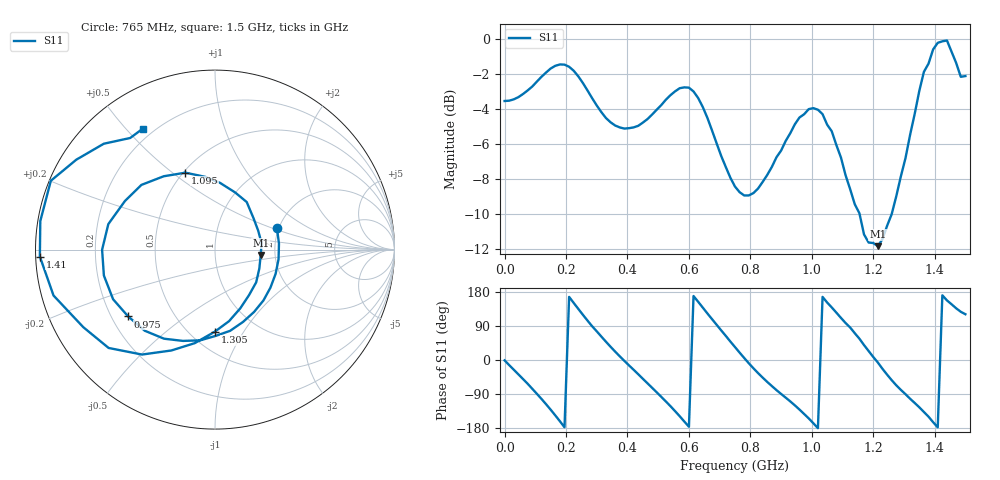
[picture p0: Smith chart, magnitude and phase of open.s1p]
! Created with skrf 1.8.0 (http://scikit-rf.org).
# Hz S RI R 50.0
!freq ReS11 ImS11
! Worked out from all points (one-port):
!   101 points, 50 kHz to 1.5 GHz, reference 50 ohm
!   lowest |S11| = -11.8 dB at 1.215 GHz (marker M1), VSWR 1.69, Z = 84 - j5.32 ohm
!   |S11| at or under -10 dB: 1.156 GHz to 1.26 GHz (104 MHz wide, 8.61 % of centre)
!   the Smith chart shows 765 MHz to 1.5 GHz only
!   S11 on the Smith chart (normalised r, x): 765 MHz: 1.95, +0.55; 975 MHz: 0.27, -0.32; 1.095 GHz: 0.51, +0.56; 1.305 GHz: 0.65, -0.75; 1.41 GHz: 0.01, -0.02; 1.5 GHz: 0.16, +0.56
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50000  0.6661 -0.0114
6.0048e7  0.4459 -0.5365
1.20046e8  -0.1712 -0.762
1.50045e8  -0.5434 -0.6206
1.950435e8  -0.8453 -0.0372
2.40042e8  -0.5517 0.5559
2.70041e8  -0.1712 0.6927
3.30039e8  0.3974 0.4436
3.750375e8  0.552 0.0935
4.950335e8  0.0527 -0.6267
5.70031e8  -0.6171 -0.3798
6.150295e8  -0.696 0.1369
6.60028e8  -0.3254 0.5003
7.50025e8  0.3142 0.2129
7.650245e8  0.3448 0.1223
8.550215e8  0.2179 -0.3471
9.450185e8  -0.2842 -0.4964
9.750175e8  -0.484 -0.3723
1.035016e9  -0.5943 0.1421
1.095014e9  -0.1648 0.4286
1.125012e9  0.0281 0.3718
1.21501e9  0.2548 -0.0296
1.305006e9  -0.00142 -0.4576
1.320006e9  -0.113 -0.5212
1.365004e9  -0.5926 -0.5481
1.410003e9  -0.9757 -0.0389
1.440002e9  -0.9147 0.3836
1.5e9  -0.4015 0.6744
